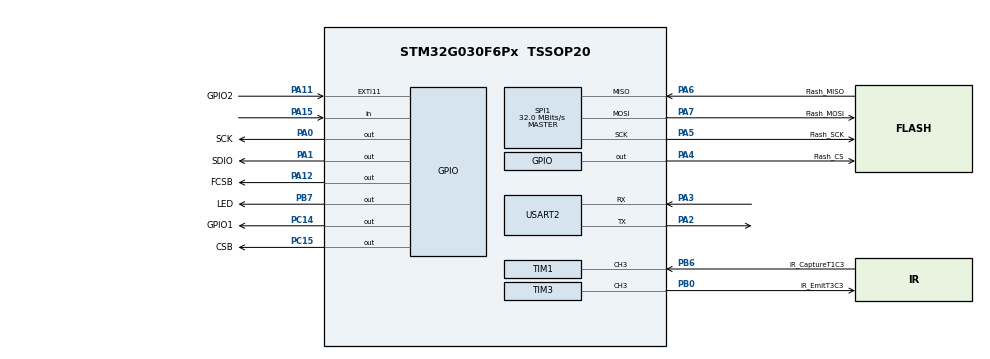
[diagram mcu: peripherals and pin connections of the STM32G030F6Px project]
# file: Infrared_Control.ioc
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Dma.Request0=USART2_RX
Dma.Request1=USART2_TX
Dma.Request2=SPI1_RX
Dma.Request3=SPI1_TX
Dma.SPI1_RX.2.Direction=DMA_PERIPH_TO_MEMORY
Dma.SPI1_RX.2.EventEnable=DISABLE
Dma.SPI1_RX.2.Instance=DMA1_Channel3
Dma.SPI1_RX.2.MemDataAlignment=DMA_MDATAALIGN_BYTE
Dma.SPI1_RX.2.MemInc=DMA_MINC_ENABLE
Dma.SPI1_RX.2.Mode=DMA_NORMAL
Dma.SPI1_RX.2.PeriphDataAlignment=DMA_PDATAALIGN_BYTE
Dma.SPI1_RX.2.PeriphInc=DMA_PINC_DISABLE
Dma.SPI1_RX.2.Polarity=HAL_DMAMUX_REQ_GEN_RISING
Dma.SPI1_RX.2.Priority=DMA_PRIORITY_LOW
Dma.SPI1_RX.2.RequestNumber=1
Dma.SPI1_RX.2.SignalID=NONE
Dma.SPI1_RX.2.SyncEnable=DISABLE
Dma.SPI1_RX.2.SyncPolarity=HAL_DMAMUX_SYNC_NO_EVENT
Dma.SPI1_RX.2.SyncRequestNumber=1
Dma.SPI1_RX.2.SyncSignalID=NONE
Dma.SPI1_TX.3.Direction=DMA_MEMORY_TO_PERIPH
Dma.SPI1_TX.3.EventEnable=DISABLE
Dma.SPI1_TX.3.Instance=DMA1_Channel4
Dma.SPI1_TX.3.MemDataAlignment=DMA_MDATAALIGN_BYTE
Dma.SPI1_TX.3.MemInc=DMA_MINC_ENABLE
Dma.SPI1_TX.3.Mode=DMA_NORMAL
Dma.SPI1_TX.3.PeriphDataAlignment=DMA_PDATAALIGN_BYTE
Dma.SPI1_TX.3.PeriphInc=DMA_PINC_DISABLE
Dma.SPI1_TX.3.Polarity=HAL_DMAMUX_REQ_GEN_RISING
Dma.SPI1_TX.3.Priority=DMA_PRIORITY_LOW
Dma.SPI1_TX.3.RequestNumber=1
Dma.SPI1_TX.3.SignalID=NONE
Dma.SPI1_TX.3.SyncEnable=DISABLE
Dma.SPI1_TX.3.SyncPolarity=HAL_DMAMUX_SYNC_NO_EVENT
Dma.SPI1_TX.3.SyncRequestNumber=1
Dma.SPI1_TX.3.SyncSignalID=NONE
Dma.USART2_RX.0.Direction=DMA_PERIPH_TO_MEMORY
Dma.USART2_RX.0.EventEnable=DISABLE
Dma.USART2_RX.0.Instance=DMA1_Channel1
Dma.USART2_RX.0.MemDataAlignment=DMA_MDATAALIGN_BYTE
Dma.USART2_RX.0.MemInc=DMA_MINC_ENABLE
Dma.USART2_RX.0.Mode=DMA_CIRCULAR
Dma.USART2_RX.0.PeriphDataAlignment=DMA_PDATAALIGN_BYTE
Dma.USART2_RX.0.PeriphInc=DMA_PINC_DISABLE
Dma.USART2_RX.0.Polarity=HAL_DMAMUX_REQ_GEN_RISING
Dma.USART2_RX.0.Priority=DMA_PRIORITY_LOW
Dma.USART2_RX.0.RequestNumber=1
Dma.USART2_RX.0.SignalID=NONE
Dma.USART2_RX.0.SyncEnable=DISABLE
Dma.USART2_RX.0.SyncPolarity=HAL_DMAMUX_SYNC_NO_EVENT
Dma.USART2_RX.0.SyncRequestNumber=1
Dma.USART2_RX.0.SyncSignalID=NONE
Dma.USART2_TX.1.Direction=DMA_MEMORY_TO_PERIPH
Dma.USART2_TX.1.EventEnable=DISABLE
Dma.USART2_TX.1.Instance=DMA1_Channel2
Dma.USART2_TX.1.MemDataAlignment=DMA_MDATAALIGN_BYTE
Dma.USART2_TX.1.MemInc=DMA_MINC_ENABLE
Dma.USART2_TX.1.Mode=DMA_NORMAL
Dma.USART2_TX.1.PeriphDataAlignment=DMA_PDATAALIGN_BYTE
Dma.USART2_TX.1.PeriphInc=DMA_PINC_DISABLE
Dma.USART2_TX.1.Polarity=HAL_DMAMUX_REQ_GEN_RISING
Dma.USART2_TX.1.Priority=DMA_PRIORITY_LOW
Dma.USART2_TX.1.RequestNumber=1
Dma.USART2_TX.1.SignalID=NONE
Dma.USART2_TX.1.SyncEnable=DISABLE
Dma.USART2_TX.1.SyncPolarity=HAL_DMAMUX_SYNC_NO_EVENT
Dma.USART2_TX.1.SyncRequestNumber=1
Dma.USART2_TX.1.SyncSignalID=NONE
Mcu.Family=STM32G0
Mcu.Name=STM32G030F6Px
Mcu.Package=TSSOP20
NVIC.DMA1_Ch4_5_DMAMUX1_OVR_IRQn=true\:0\:0\:false\:false\:true\:false\:true\:true
NVIC.DMA1_Channel1_IRQn=true\:0\:0\:false\:false\:true\:false\:true\:true
NVIC.DMA1_Channel2_3_IRQn=true\:0\:0\:false\:false\:true\:false\:true\:true
NVIC.EXTI4_15_IRQn=true\:0\:0\:false\:false\:true\:true\:true\:true
NVIC.TIM14_IRQn=true\:0\:0\:false\:false\:true\:true\:true\:true
NVIC.TIM1_BRK_UP_TRG_COM_IRQn=true\:0\:0\:false\:false\:true\:true\:true\:true
NVIC.TIM1_CC_IRQn=true\:0\:0\:false\:false\:true\:true\:true\:true
NVIC.USART2_IRQn=true\:0\:0\:false\:false\:true\:true\:true\:true
PA0.GPIO_Label=SCK
PA0.GPIO_Speed=GPIO_SPEED_FREQ_VERY_HIGH
PA0.Signal=GPIO_Output
PA1.GPIO_Label=SDIO
PA1.GPIO_Speed=GPIO_SPEED_FREQ_VERY_HIGH
PA1.Signal=GPIO_Output
PA11\ [PA9].GPIO_Label=GPIO2
PA11\ [PA9].Signal=GPXTI11
PA12\ [PA10].GPIO_Label=FCSB
PA12\ [PA10].GPIO_Speed=GPIO_SPEED_FREQ_VERY_HIGH
PA12\ [PA10].Signal=GPIO_Output
PA14-BOOT0__PA15.StandardMode=true
PA15.GPIO_PuPd=GPIO_PULLUP
PA15.Signal=GPIO_Input
PA2.Mode=Asynchronous
PA2.Signal=USART2_TX
PA3.Mode=Asynchronous
PA3.Signal=USART2_RX
PA4.GPIO_Label=Flash_CS
PA4.GPIO_ModeDefaultOutputPP=GPIO_MODE_OUTPUT_PP
PA4.GPIO_PuPd=GPIO_PULLUP
PA4.GPIO_Speed=GPIO_SPEED_FREQ_LOW
PA4.PinState=GPIO_PIN_SET
PA4.Signal=GPIO_Output
PA5.GPIO_Label=Flash_SCK
PA5.GPIO_PuPd=GPIO_PULLDOWN
PA5.GPIO_Speed=GPIO_SPEED_FREQ_VERY_HIGH
PA5.Mode=Full_Duplex_Master
PA5.Signal=SPI1_SCK
PA6.GPIO_Label=Flash_MISO
PA6.GPIO_PuPd=GPIO_PULLDOWN
PA6.GPIO_Speed=GPIO_SPEED_FREQ_VERY_HIGH
PA6.Mode=Full_Duplex_Master
PA6.Signal=SPI1_MISO
PA7.GPIO_Label=Flash_MOSI
PA7.GPIO_PuPd=GPIO_PULLDOWN
PA7.GPIO_Speed=GPIO_SPEED_FREQ_VERY_HIGH
PA7.Mode=Full_Duplex_Master
PA7.Signal=SPI1_MOSI
PB0.GPIO_Label=IR_EmitT3C3
PB0.Signal=S_TIM3_CH3
PB0__PB1__PB2__PA8.StandardMode=true
PB3__PB4__PB5__PB6.StandardMode=true
PB6.GPIO_FM6=__NULL
PB6.GPIO_Label=IR_CaptureT1C3
PB6.GPIO_PuPd=GPIO_PULLUP
PB6.GPIO_Speed=GPIO_SPEED_FREQ_HIGH
PB6.Signal=S_TIM1_CH3
PB7.GPIO_Label=LED
PB7.GPIO_PuPd=GPIO_PULLUP
PB7.GPIO_Speed=GPIO_SPEED_FREQ_VERY_HIGH
PB7.Signal=GPIO_Output
PB7__PB8.StandardMode=true
PC14-OSC32_IN\ (PC14).GPIO_Label=GPIO1
PC14-OSC32_IN\ (PC14).Signal=GPIO_Output
PC14-OSC32_IN\ (PC14)__PB9.StandardMode=true
PC15-OSC32_OUT\ (PC15).GPIO_Label=CSB
PC15-OSC32_OUT\ (PC15).Signal=GPIO_Output
ProjectManager.HeapSize=0x400
ProjectManager.StackSize=0x400
ProjectManager.TargetToolchain=MDK-ARM V5.32
RCC.ADCFreq_Value=64000000
RCC.AHBFreq_Value=64000000
RCC.CortexFreq_Value=64000000
RCC.EXTERNAL_CLOCK_VALUE=12288000
RCC.HCLKFreq_Value=64000000
RCC.HSE_VALUE=8000000
RCC.HSI_VALUE=16000000
RCC.LSE_VALUE=32768
RCC.SYSCLKFreq_VALUE=64000000
RCC.SYSCLKSource=RCC_SYSCLKSOURCE_PLLCLK
RCC.VCOOutputFreq_Value=128000000
SH.S_TIM1_CH3.0=TIM1_CH3,Input_Capture3_from_TI3
SH.S_TIM3_CH3.0=TIM3_CH3,PWM Generation3 CH3
SPI1.BaudRatePrescaler=SPI_BAUDRATEPRESCALER_2
SPI1.CLKPolarity=SPI_POLARITY_LOW
SPI1.CalculateBaudRate=32.0 MBits/s
SPI1.Direction=SPI_DIRECTION_2LINES
SPI1.Mode=SPI_MODE_MASTER
SPI1.NSSPMode=SPI_NSS_PULSE_DISABLE
SPI1.VirtualType=VM_MASTER
TIM1.AutoReloadPreload=TIM_AUTORELOAD_PRELOAD_DISABLE
TIM1.Channel-Input_Capture3_from_TI3=TIM_CHANNEL_3
TIM1.ICFilter_CH3=2
TIM1.ICPolarity_CH3=TIM_INPUTCHANNELPOLARITY_BOTHEDGE
TIM1.Prescaler=63
TIM14.AutoReloadPreload=TIM_AUTORELOAD_PRELOAD_DISABLE
TIM14.Period=0
TIM14.Prescaler=63
TIM3.AutoReloadPreload=TIM_AUTORELOAD_PRELOAD_DISABLE
TIM3.Channel-PWM\ Generation3\ CH3=TIM_CHANNEL_3
TIM3.Period=1683
USART2.VirtualMode-Asynchronous=VM_ASYNC
VP_TIM14_VS_ClockSourceINT.Mode=Enable_Timer
VP_TIM1_VS_ClockSourceINT.Mode=Internal
board=custom

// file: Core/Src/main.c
/* USER CODE BEGIN Header */
/**
  ******************************************************************************
  * @file           : main.c
  * @brief          : Main program body
  ******************************************************************************
  * @attention
  *
  * <h2><center>&copy; Copyright (c) 2022 STMicroelectronics.
  * All rights reserved.</center></h2>
  *
  * This software component is licensed by ST under BSD 3-Clause license,
  * the "License"; You may not use this file except in compliance with the
  * License. You may obtain a copy of the License at:
  *                        opensource.org/licenses/BSD-3-Clause
  *
  ******************************************************************************
  */
/* USER CODE END Header */
#include "main.h"
#include "spi.h"
#include "tim.h"
#include "usart.h"
#include "gpio.h"

/* USER CODE BEGIN Includes */
#include "dma.h"
#include "25QFlash.h"
#include "string.h"
#include "hal_abstract_flash_alloc.h"
#include "HAL_Control_Uart.h"
#include "stdlib.h"
#include "serialctrl_memopt.h"
#include "gen_link_list.h"
#include "serialctrl_ircaddrproc.h"
#include "ircode_catch.h"
#include "ircode_emit.h"

#include "HAL_SM_MainLoop.h"
/* USER CODE END Includes */

void SystemClock_Config(void);

/* USER CODE BEGIN 0 */

  void** tmp_data = NULL;
  void* tmp_pt1;
  void* tmp_pt2;
  void* tmp_pt3;
  uint8_t datasize;
  uint8_t datasize1 =1;
  uint8_t datasize2 =2;
  uint8_t datasize3 =3;
	uint8_t datasize4 =0;
	uint8_t test[] = {0x13,0x88,0x03,0xe8,0x13,0x88,0xff,0xff,0xff,0xff,0x03,0xe8,0x13,0x88,0x03,0xe8,0x13,0x88,0x03,0xe8};
  GEN_LINK_ST* tmp;
  GEN_LINK_ST* tmp1;
  GEN_LINK_ST* tmp2;
	uint32_t tmp_add = 0;
/* USER CODE END 0 */

int main(void)
{

  /* MCU Configuration--------------------------------------------------------*/

  /* Reset of all peripherals, Initializes the Flash interface and the Systick. */
  LL_APB2_GRP1_EnableClock(LL_APB2_GRP1_PERIPH_SYSCFG);
  LL_APB1_GRP1_EnableClock(LL_APB1_GRP1_PERIPH_PWR);

  /* SysTick_IRQn interrupt configuration */
  NVIC_SetPriority(SysTick_IRQn, 3);

  /* Configure the system clock */
  SystemClock_Config();

  /* USER CODE BEGIN SysInit */
	MX_DMA_Init();
  /* USER CODE END SysInit */

  /* Initialize all configured peripherals */
  MX_GPIO_Init();
  MX_TIM1_Init();
  MX_TIM3_Init();
  MX_SPI1_Init();
  MX_USART2_UART_Init();
  MX_TIM14_Init();
  /* USER CODE BEGIN 2 */

  SysTick->CTRL  = SysTick_CTRL_TICKINT_Msk | SysTick->CTRL;
	HAL_Control_UartInit();
	falsh_init();
//	fls_init();
	memopt_index_init();
	mmc_ircode_addr_flash();

//	tmp_add = mmc_ircode_addr_get(7000);
//	mmc_ircode_addr_flash();
//	tmp_add = mmc_ircode_addr_get(7000);
//	mmc_ircode_addr_flash();
//	tmp_add = mmc_ircode_addr_get(7000);
//	mmc_ircode_addr_flash();
//	tmp_add = mmc_ircode_addr_get(7000);

	ircode_emit_inarray(0,test,sizeof(test),sizeof(test));
	ircode_emit_inarray(2,test,sizeof(test),sizeof(test));
//	LL_mDelay(2000);
//	ircode_emit_test();
//	ircode_catch_stat = 1;
//	LL_TIM_ClearFlag_UPDATE(TIM1);
//	LL_TIM_ClearFlag_CC3(TIM1);
//
//	LL_TIM_EnableIT_CC3(TIM1);
//	LL_TIM_EnableIT_UPDATE(TIM1);
//	LL_TIM_CC_EnableChannel(TIM1,LL_TIM_CHANNEL_CH3);
//	LL_TIM_EnableCounter(TIM1);

  /* USER CODE END 2 */

  /* Infinite loop */
  while (1)
  {

    /* USER CODE BEGIN 3 */
		HAL_SM_MainLoop();
  }
  /* USER CODE END 3 */
}

void SystemClock_Config(void)
{
  LL_FLASH_SetLatency(LL_FLASH_LATENCY_2);
  while(LL_FLASH_GetLatency() != LL_FLASH_LATENCY_2)
  {
  }

  /* HSI configuration and activation */
  LL_RCC_HSI_Enable();
  while(LL_RCC_HSI_IsReady() != 1)
  {
  }

  /* Main PLL configuration and activation */
  LL_RCC_PLL_ConfigDomain_SYS(LL_RCC_PLLSOURCE_HSI, LL_RCC_PLLM_DIV_1, 8, LL_RCC_PLLR_DIV_2);
  LL_RCC_PLL_Enable();
  LL_RCC_PLL_EnableDomain_SYS();
  while(LL_RCC_PLL_IsReady() != 1)
  {
  }

  /* Set AHB prescaler*/
  LL_RCC_SetAHBPrescaler(LL_RCC_SYSCLK_DIV_1);

  /* Sysclk activation on the main PLL */
  LL_RCC_SetSysClkSource(LL_RCC_SYS_CLKSOURCE_PLL);
  while(LL_RCC_GetSysClkSource() != LL_RCC_SYS_CLKSOURCE_STATUS_PLL)
  {
  }

  /* Set APB1 prescaler*/
  LL_RCC_SetAPB1Prescaler(LL_RCC_APB1_DIV_1);

  LL_Init1msTick(64000000);

  /* Update CMSIS variable (which can be updated also through SystemCoreClockUpdate function) */
  LL_SetSystemCoreClock(64000000);
}

void Error_Handler(void)
{
  __disable_irq();
  while (1)
  {
  }
}
